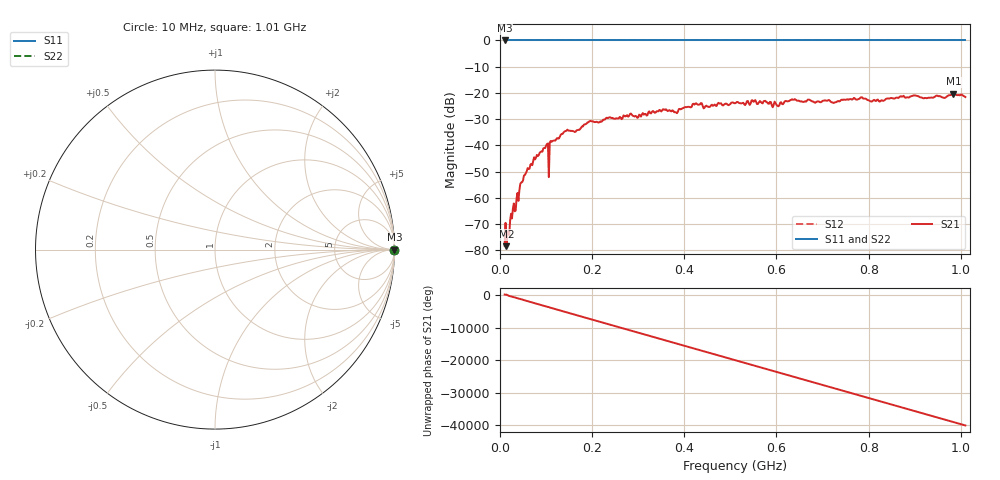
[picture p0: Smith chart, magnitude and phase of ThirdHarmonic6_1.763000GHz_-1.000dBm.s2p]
! 8/16/2025 9:17:21 PM
! C:\ANRITSUVNA\TEMP\TEMP.S2P
! CHANNEL.1
! TR.MEASUREMENT
! RAW.DATA
! RF.CORRECTION.OFF
! AVERAGING.OFF
! IF.BANDWIDTH: 5KHZ
! SWEEPTYPE:  FREQ.SWEEP(Linear)
! Reference Plane Port Info
! PORT:  PORT1  PORT2
! DISTANCE:  0  m  0  m
! TIME:  0  s  0  s
! PHASE.OFFSET:  0  deg.  0  deg.
! LOSS:  0  dB  0  dB
! REF.LOSS:  0  dB  0  dB
! REF.FREQ:  0  Hz  0  Hz
! Power Info
! POWER:  -20  dBm  -20  dBm
! EFF.POWER:  -20  dBm  -20  dBm
! SOURCE.ATTEN:  0  dB  0  dB
! TEST.ATTEN:  0  dB  0  dB
# GHZ S RI R 50.0
! FREQ.GHZ  S11RE  S11IM  S21RE  S21IM  S12RE  S12IM  S22RE  S22IM
!; PortSelection: Port_12
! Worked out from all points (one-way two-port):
!   501 points, 10 MHz to 1.01 GHz, reference 50 ohm
!   highest |S21| = -20.31 dB at 984 MHz (marker M1); lowest = -78.5 dB at 14 MHz (marker M2)
!   lowest |S11| = 0.0 dB at 10 MHz (marker M3)
!   |S11| at or under -10 dB: nowhere
!   |S22| runs from 0.0 to 0.0 dB; largest |S21 - S12| = 1.1
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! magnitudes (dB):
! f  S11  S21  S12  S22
! 10 MHz  0.0  -78.3  0.0  0.0
! 14 MHz  0.0  -78.5  0.0  0.0
! 18 MHz  0.0  -72.7  0.0  0.0
! 26 MHz  0.0  -67.9  0.0  0.0
! 36 MHz  0.0  -60.2  0.0  0.0
! 48 MHz  0.0  -54.1  0.0  0.0
! 76 MHz  0.0  -45.4  0.0  0.0
! 100 MHz  0.0  -40.1  0.0  0.0
! 102 MHz  0.0  -39.5  0.0  0.0
! 110 MHz  0.0  -38.3  0.0  0.0
! 112 MHz  0.0  -38.7  0.0  0.0
! 142 MHz  0.0  -34.6  0.0  0.0
! 178 MHz  0.0  -32.8  0.0  0.0
! 234 MHz  0.0  -29.6  0.0  0.0
! 344 MHz  0.0  -27.0  0.0  0.0
! 382 MHz  0.0  -27.5  0.0  0.0
! 422 MHz  0.0  -24.5  0.0  0.0
! 510 MHz  0.0  -24.0  0.0  0.0
! 678 MHz  0.0  -23.3  0.0  0.0
! 844 MHz  0.0  -22.2  0.0  0.0
! 984 MHz  0.0  -20.3  0.0  0.0
! 1.01 GHz  0.0  -21.6  0.0  0.0
